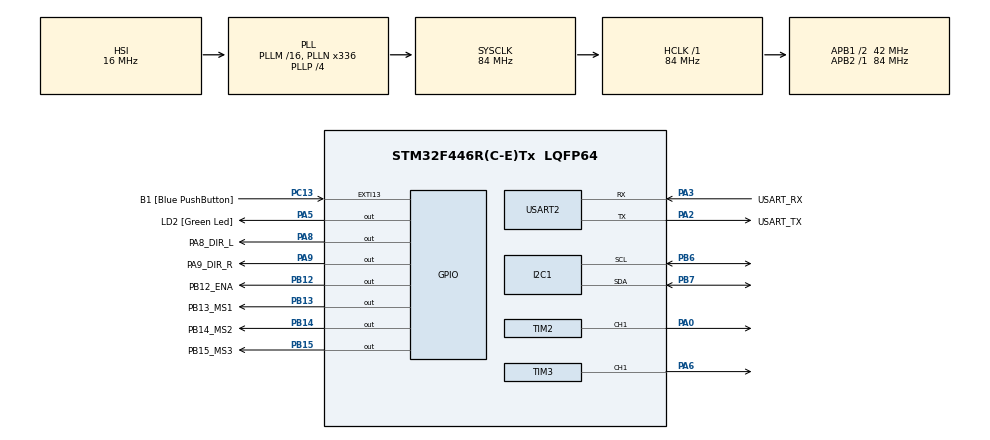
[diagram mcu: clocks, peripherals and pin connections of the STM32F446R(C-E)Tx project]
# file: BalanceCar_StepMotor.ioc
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I2C1.I2C_Mode=I2C_Fast
Mcu.Family=STM32F4
Mcu.Name=STM32F446R(C-E)Tx
Mcu.Package=LQFP64
NVIC.EXTI15_10_IRQn=true\:0\:0\:false\:false\:true\:true\:true
NVIC.PriorityGroup=NVIC_PRIORITYGROUP_0
PA0-WKUP.GPIO_PuPd=GPIO_PULLDOWN
PA0-WKUP.Signal=S_TIM2_CH1_ETR
PA13.GPIO_Label=TMS
PA13.Mode=Serial_Wire
PA13.Signal=SYS_JTMS-SWDIO
PA14.GPIO_Label=TCK
PA14.Mode=Serial_Wire
PA14.Signal=SYS_JTCK-SWCLK
PA2.GPIO_Label=USART_TX
PA2.Mode=Asynchronous
PA2.Signal=USART2_TX
PA3.GPIO_Label=USART_RX
PA3.Mode=Asynchronous
PA3.Signal=USART2_RX
PA5.GPIO_Label=LD2 [Green Led]
PA5.Signal=GPIO_Output
PA6.GPIO_PuPd=GPIO_PULLDOWN
PA6.Signal=S_TIM3_CH1
PA8.GPIO_Label=PA8_DIR_L
PA8.GPIO_PuPd=GPIO_PULLUP
PA8.Signal=GPIO_Output
PA9.GPIO_Label=PA9_DIR_R
PA9.GPIO_PuPd=GPIO_PULLUP
PA9.Signal=GPIO_Output
PB12.GPIO_Label=PB12_ENA
PB12.GPIO_PuPd=GPIO_PULLUP
PB12.Signal=GPIO_Output
PB13.GPIO_Label=PB13_MS1
PB13.GPIO_PuPd=GPIO_PULLDOWN
PB13.Signal=GPIO_Output
PB14.GPIO_Label=PB14_MS2
PB14.GPIO_PuPd=GPIO_PULLDOWN
PB14.Signal=GPIO_Output
PB15.GPIO_Label=PB15_MS3
PB15.GPIO_PuPd=GPIO_PULLDOWN
PB15.Signal=GPIO_Output
PB3.GPIO_Label=SWO
PB3.Signal=SYS_JTDO-SWO
PB6.Mode=I2C
PB6.Signal=I2C1_SCL
PB7.Mode=I2C
PB7.Signal=I2C1_SDA
PC13.GPIO_Label=B1 [Blue PushButton]
PC13.GPIO_ModeDefaultEXTI=GPIO_MODE_IT_FALLING
PC13.Signal=GPXTI13
PC14-OSC32_IN.Mode=LSE-External-Oscillator
PC14-OSC32_IN.Signal=RCC_OSC32_IN
PC15-OSC32_OUT.Mode=LSE-External-Oscillator
PC15-OSC32_OUT.Signal=RCC_OSC32_OUT
PH0-OSC_IN.Mode=HSE-External-Oscillator
PH0-OSC_IN.Signal=RCC_OSC_IN
PH1-OSC_OUT.Mode=HSE-External-Oscillator
PH1-OSC_OUT.Signal=RCC_OSC_OUT
ProjectManager.HeapSize=0x200
ProjectManager.StackSize=0x400
ProjectManager.TargetToolchain=STM32CubeIDE
RCC.48MHZClocksFreq_Value=84000000
RCC.AHBFreq_Value=84000000
RCC.APB1CLKDivider=RCC_HCLK_DIV2
RCC.APB1Freq_Value=42000000
RCC.APB1TimFreq_Value=84000000
RCC.APB2Freq_Value=84000000
RCC.APB2TimFreq_Value=84000000
RCC.CortexFreq_Value=84000000
RCC.FLatency-AdvancedSettings=FLASH_LATENCY_2
RCC.HCLKFreq_Value=84000000
RCC.HSE_VALUE=8000000
RCC.HSI_VALUE=16000000
RCC.PLLN=336
RCC.PLLP=RCC_PLLP_DIV4
RCC.SYSCLKFreq_VALUE=84000000
RCC.SYSCLKSource=RCC_SYSCLKSOURCE_PLLCLK
RCC.USBFreq_Value=168000000
RCC.VCOOutputFreq_Value=336000000
SH.S_TIM2_CH1_ETR.0=TIM2_CH1,PWM Generation1 CH1
SH.S_TIM3_CH1.0=TIM3_CH1,PWM Generation1 CH1
TIM2.AutoReloadPreload=TIM_AUTORELOAD_PRELOAD_ENABLE
TIM2.Channel-PWM\ Generation1\ CH1=TIM_CHANNEL_1
TIM2.Period=4999
TIM2.Prescaler=83
TIM2.Pulse-PWM\ Generation1\ CH1=2500
TIM2.TIM_MasterOutputTrigger=TIM_TRGO_RESET
TIM3.AutoReloadPreload=TIM_AUTORELOAD_PRELOAD_ENABLE
TIM3.Channel-PWM\ Generation1\ CH1=TIM_CHANNEL_1
TIM3.Period=4999
TIM3.Prescaler=83
TIM3.Pulse-PWM\ Generation1\ CH1=2500
TIM3.TIM_MasterOutputTrigger=TIM_TRGO_RESET
USART2.VirtualMode=VM_ASYNC
VP_TIM2_VS_ClockSourceINT.Mode=Internal
VP_TIM3_VS_ClockSourceINT.Mode=Internal
board=NUCLEO-F446RE

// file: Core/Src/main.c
/* USER CODE BEGIN Header */
/**
  ******************************************************************************
  * @file           : main.c
  * @brief          : Main program body
  ******************************************************************************
  * @attention
  *
  * <h2><center>&copy; Copyright (c) 2021 STMicroelectronics.
  * All rights reserved.</center></h2>
  *
  * This software component is licensed by ST under BSD 3-Clause license,
  * the "License"; You may not use this file except in compliance with the
  * License. You may obtain a copy of the License at:
  *                        opensource.org/licenses/BSD-3-Clause
  *
  ******************************************************************************
  */
/* USER CODE END Header */
#include "main.h"

/* USER CODE BEGIN Includes */
#include <stdlib.h>
#include "mpu6050.h"
#include "A4988_Driver.h"

/* USER CODE END Includes */

/* USER CODE BEGIN PD */
#ifdef __GNUC__
  #define PUTCHAR_PROTOTYPE int __io_putchar(int ch)
#else#define PUTCHAR_PROTOTYPE int fputc(int ch, FILE *f)
#endif /* __GNUC__ */
/* USER CODE END PD */

I2C_HandleTypeDef hi2c1;

TIM_HandleTypeDef htim2;
TIM_HandleTypeDef htim3;

UART_HandleTypeDef huart2;

/* USER CODE BEGIN PV */
MPU6050_HandleTypeDef MPU6050;
uint8_t count1 = 0, count2 = 0;

double balance_point = 6.0;
double reference_input_angle = 0.0;
double reference_input_speed = 0.0;

double error_angle = 0.0;
double error_speed = 0.0;
double error_speed_LFP = 0.0, alpha = 0.2;  // LPF means low pass filter.
double control_law_angle = 0.0;
double control_law_speed = 0.0;
double control_law_speed_LFP = 0.0, beta = 0.5;

double PID_speed_time = 0.0;
double PID_speed_delta_time = 0.0;
double PID_speed_integral = 0.0;
double PID_speed_error_pre = 0.0;

double PID_angle_time = 0.0;
double PID_angle_delta_time = 0.0;
double PID_angle_integral = 0.0;

/* USER CODE END PV */

void SystemClock_Config(void);
static void MX_GPIO_Init(void);
static void MX_USART2_UART_Init(void);
static void MX_I2C1_Init(void);
static void MX_TIM2_Init(void);
static void MX_TIM3_Init(void);
/* USER CODE BEGIN PFP */
double PID_angle_controller(double error);
double PID_speed_controller(double error);

/* USER CODE END PFP */

int main(void)
{

  /* MCU Configuration--------------------------------------------------------*/

  /* Reset of all peripherals, Initializes the Flash interface and the Systick. */
  HAL_Init();

  /* Configure the system clock */
  SystemClock_Config();

  /* USER CODE BEGIN SysInit */
  SysTick_Config(SystemCoreClock / 1000);

  /* USER CODE END SysInit */

  /* Initialize all configured peripherals */
  MX_GPIO_Init();
  MX_USART2_UART_Init();
  MX_I2C1_Init();
  MX_TIM2_Init();
  MX_TIM3_Init();
  /* USER CODE BEGIN 2 */
  StepMotorDriver_Iint(&htim2);
  StepMotorDriver_Iint(&htim3);

  if (mpu6050_Init_Correction(&hi2c1, &MPU6050) == 1)
  {
    Error_Handler();
  }

  /* USER CODE END 2 */

  /* Infinite loop */
  while (1)
  {

    /* USER CODE BEGIN 3 */
	while(count1 == 1)
	{
		KalmanFilter_getAngle(&hi2c1, &MPU6050);

		error_speed = reference_input_speed + control_law_speed_LFP;
		error_speed_LFP = alpha * error_speed + (1-alpha) * error_speed_LFP;  // Low pass filter
		control_law_angle = PID_speed_controller(error_speed_LFP);

		error_angle = reference_input_angle - MPU6050.KalmanFilter_AngleX + balance_point;
		control_law_speed = PID_angle_controller(error_angle) + control_law_angle;

		control_law_speed_LFP = beta * control_law_speed + (1-beta) * control_law_speed_LFP;  // Low pass filter

		if(control_law_speed_LFP > 1081.73) control_law_speed_LFP = 1081.73;  // Maximum limit
		if(control_law_speed_LFP < -1081.73) control_law_speed_LFP = -1081.73;

		printf("KF_AngleX = %f \t, error_angle = %f \t, control_law_speed_LFP = %f\n" \
				, MPU6050.KalmanFilter_AngleX, error_angle, control_law_speed_LFP);

		if(abs((int)error_angle) > 45)
		{
			StepMotor_Stop(&htim2);
			StepMotor_Stop(&htim3);
		}
		else if(abs((int)control_law_speed_LFP) < 1.502)
		{
			StepMotor_Stop(&htim2);
			StepMotor_Stop(&htim3);
		}
		else
		{
			// control_law_speed_LFP (unit:deg/sec)(>0 = forward; <0 = back), (1=left motor; 0=right motor)
			StepMotor_Control(&htim2, control_law_speed_LFP, 1);
			StepMotor_Control(&htim3, control_law_speed_LFP, 0);
		}

		while(count1 == 1 && count2 > 2)
		{
			StepMotor_Stop(&htim2);
			StepMotor_Stop(&htim3);
		}
	}
  }
  /* USER CODE END 3 */
}

void SystemClock_Config(void)
{
  RCC_OscInitTypeDef RCC_OscInitStruct = {0};
  RCC_ClkInitTypeDef RCC_ClkInitStruct = {0};

  /** Configure the main internal regulator output voltage
  */
  __HAL_RCC_PWR_CLK_ENABLE();
  __HAL_PWR_VOLTAGESCALING_CONFIG(PWR_REGULATOR_VOLTAGE_SCALE3);
  /** Initializes the RCC Oscillators according to the specified parameters
  * in the RCC_OscInitTypeDef structure.
  */
  RCC_OscInitStruct.OscillatorType = RCC_OSCILLATORTYPE_HSI;
  RCC_OscInitStruct.HSIState = RCC_HSI_ON;
  RCC_OscInitStruct.HSICalibrationValue = RCC_HSICALIBRATION_DEFAULT;
  RCC_OscInitStruct.PLL.PLLState = RCC_PLL_ON;
  RCC_OscInitStruct.PLL.PLLSource = RCC_PLLSOURCE_HSI;
  RCC_OscInitStruct.PLL.PLLM = 16;
  RCC_OscInitStruct.PLL.PLLN = 336;
  RCC_OscInitStruct.PLL.PLLP = RCC_PLLP_DIV4;
  RCC_OscInitStruct.PLL.PLLQ = 2;
  RCC_OscInitStruct.PLL.PLLR = 2;
  if (HAL_RCC_OscConfig(&RCC_OscInitStruct) != HAL_OK)
  {
    Error_Handler();
  }
  /** Initializes the CPU, AHB and APB buses clocks
  */
  RCC_ClkInitStruct.ClockType = RCC_CLOCKTYPE_HCLK|RCC_CLOCKTYPE_SYSCLK
                              |RCC_CLOCKTYPE_PCLK1|RCC_CLOCKTYPE_PCLK2;
  RCC_ClkInitStruct.SYSCLKSource = RCC_SYSCLKSOURCE_PLLCLK;
  RCC_ClkInitStruct.AHBCLKDivider = RCC_SYSCLK_DIV1;
  RCC_ClkInitStruct.APB1CLKDivider = RCC_HCLK_DIV2;
  RCC_ClkInitStruct.APB2CLKDivider = RCC_HCLK_DIV1;

  if (HAL_RCC_ClockConfig(&RCC_ClkInitStruct, FLASH_LATENCY_2) != HAL_OK)
  {
    Error_Handler();
  }
}

static void MX_I2C1_Init(void)
{

  hi2c1.Instance = I2C1;
  hi2c1.Init.ClockSpeed = 400000;
  hi2c1.Init.DutyCycle = I2C_DUTYCYCLE_2;
  hi2c1.Init.OwnAddress1 = 0;
  hi2c1.Init.AddressingMode = I2C_ADDRESSINGMODE_7BIT;
  hi2c1.Init.DualAddressMode = I2C_DUALADDRESS_DISABLE;
  hi2c1.Init.OwnAddress2 = 0;
  hi2c1.Init.GeneralCallMode = I2C_GENERALCALL_DISABLE;
  hi2c1.Init.NoStretchMode = I2C_NOSTRETCH_DISABLE;
  if (HAL_I2C_Init(&hi2c1) != HAL_OK)
  {
    Error_Handler();
  }

}

static void MX_TIM2_Init(void)
{

  TIM_ClockConfigTypeDef sClockSourceConfig = {0};
  TIM_MasterConfigTypeDef sMasterConfig = {0};
  TIM_OC_InitTypeDef sConfigOC = {0};

  htim2.Instance = TIM2;
  htim2.Init.Prescaler = 83;
  htim2.Init.CounterMode = TIM_COUNTERMODE_UP;
  htim2.Init.Period = 4999;
  htim2.Init.ClockDivision = TIM_CLOCKDIVISION_DIV1;
  htim2.Init.AutoReloadPreload = TIM_AUTORELOAD_PRELOAD_ENABLE;
  if (HAL_TIM_Base_Init(&htim2) != HAL_OK)
  {
    Error_Handler();
  }
  sClockSourceConfig.ClockSource = TIM_CLOCKSOURCE_INTERNAL;
  if (HAL_TIM_ConfigClockSource(&htim2, &sClockSourceConfig) != HAL_OK)
  {
    Error_Handler();
  }
  if (HAL_TIM_PWM_Init(&htim2) != HAL_OK)
  {
    Error_Handler();
  }
  sMasterConfig.MasterOutputTrigger = TIM_TRGO_RESET;
  sMasterConfig.MasterSlaveMode = TIM_MASTERSLAVEMODE_DISABLE;
  if (HAL_TIMEx_MasterConfigSynchronization(&htim2, &sMasterConfig) != HAL_OK)
  {
    Error_Handler();
  }
  sConfigOC.OCMode = TIM_OCMODE_PWM1;
  sConfigOC.Pulse = 2500;
  sConfigOC.OCPolarity = TIM_OCPOLARITY_HIGH;
  sConfigOC.OCFastMode = TIM_OCFAST_DISABLE;
  if (HAL_TIM_PWM_ConfigChannel(&htim2, &sConfigOC, TIM_CHANNEL_1) != HAL_OK)
  {
    Error_Handler();
  }
  HAL_TIM_MspPostInit(&htim2);

}

static void MX_TIM3_Init(void)
{

  TIM_ClockConfigTypeDef sClockSourceConfig = {0};
  TIM_MasterConfigTypeDef sMasterConfig = {0};
  TIM_OC_InitTypeDef sConfigOC = {0};

  htim3.Instance = TIM3;
  htim3.Init.Prescaler = 83;
  htim3.Init.CounterMode = TIM_COUNTERMODE_UP;
  htim3.Init.Period = 4999;
  htim3.Init.ClockDivision = TIM_CLOCKDIVISION_DIV1;
  htim3.Init.AutoReloadPreload = TIM_AUTORELOAD_PRELOAD_ENABLE;
  if (HAL_TIM_Base_Init(&htim3) != HAL_OK)
  {
    Error_Handler();
  }
  sClockSourceConfig.ClockSource = TIM_CLOCKSOURCE_INTERNAL;
  if (HAL_TIM_ConfigClockSource(&htim3, &sClockSourceConfig) != HAL_OK)
  {
    Error_Handler();
  }
  if (HAL_TIM_PWM_Init(&htim3) != HAL_OK)
  {
    Error_Handler();
  }
  sMasterConfig.MasterOutputTrigger = TIM_TRGO_RESET;
  sMasterConfig.MasterSlaveMode = TIM_MASTERSLAVEMODE_DISABLE;
  if (HAL_TIMEx_MasterConfigSynchronization(&htim3, &sMasterConfig) != HAL_OK)
  {
    Error_Handler();
  }
  sConfigOC.OCMode = TIM_OCMODE_PWM1;
  sConfigOC.Pulse = 2500;
  sConfigOC.OCPolarity = TIM_OCPOLARITY_HIGH;
  sConfigOC.OCFastMode = TIM_OCFAST_DISABLE;
  if (HAL_TIM_PWM_ConfigChannel(&htim3, &sConfigOC, TIM_CHANNEL_1) != HAL_OK)
  {
    Error_Handler();
  }
  HAL_TIM_MspPostInit(&htim3);

}

static void MX_USART2_UART_Init(void)
{

  huart2.Instance = USART2;
  huart2.Init.BaudRate = 115200;
  huart2.Init.WordLength = UART_WORDLENGTH_8B;
  huart2.Init.StopBits = UART_STOPBITS_1;
  huart2.Init.Parity = UART_PARITY_NONE;
  huart2.Init.Mode = UART_MODE_TX_RX;
  huart2.Init.HwFlowCtl = UART_HWCONTROL_NONE;
  huart2.Init.OverSampling = UART_OVERSAMPLING_16;
  if (HAL_UART_Init(&huart2) != HAL_OK)
  {
    Error_Handler();
  }

}

static void MX_GPIO_Init(void)
{
  GPIO_InitTypeDef GPIO_InitStruct = {0};

  /* GPIO Ports Clock Enable */
  __HAL_RCC_GPIOC_CLK_ENABLE();
  __HAL_RCC_GPIOH_CLK_ENABLE();
  __HAL_RCC_GPIOA_CLK_ENABLE();
  __HAL_RCC_GPIOB_CLK_ENABLE();

  /*Configure GPIO pin Output Level */
  HAL_GPIO_WritePin(GPIOA, LD2_Pin|PA8_DIR_L_Pin|PA9_DIR_R_Pin, GPIO_PIN_RESET);

  /*Configure GPIO pin Output Level */
  HAL_GPIO_WritePin(GPIOB, PB12_ENA_Pin|PB13_MS1_Pin|PB14_MS2_Pin|PB15_MS3_Pin, GPIO_PIN_RESET);

  /*Configure GPIO pin : B1_Pin */
  GPIO_InitStruct.Pin = B1_Pin;
  GPIO_InitStruct.Mode = GPIO_MODE_IT_FALLING;
  GPIO_InitStruct.Pull = GPIO_NOPULL;
  HAL_GPIO_Init(B1_GPIO_Port, &GPIO_InitStruct);

  /*Configure GPIO pin : LD2_Pin */
  GPIO_InitStruct.Pin = LD2_Pin;
  GPIO_InitStruct.Mode = GPIO_MODE_OUTPUT_PP;
  GPIO_InitStruct.Pull = GPIO_NOPULL;
  GPIO_InitStruct.Speed = GPIO_SPEED_FREQ_LOW;
  HAL_GPIO_Init(LD2_GPIO_Port, &GPIO_InitStruct);

  /*Configure GPIO pin : PB12_ENA_Pin */
  GPIO_InitStruct.Pin = PB12_ENA_Pin;
  GPIO_InitStruct.Mode = GPIO_MODE_OUTPUT_PP;
  GPIO_InitStruct.Pull = GPIO_PULLUP;
  GPIO_InitStruct.Speed = GPIO_SPEED_FREQ_LOW;
  HAL_GPIO_Init(PB12_ENA_GPIO_Port, &GPIO_InitStruct);

  /*Configure GPIO pins : PB13_MS1_Pin PB14_MS2_Pin PB15_MS3_Pin */
  GPIO_InitStruct.Pin = PB13_MS1_Pin|PB14_MS2_Pin|PB15_MS3_Pin;
  GPIO_InitStruct.Mode = GPIO_MODE_OUTPUT_PP;
  GPIO_InitStruct.Pull = GPIO_PULLDOWN;
  GPIO_InitStruct.Speed = GPIO_SPEED_FREQ_LOW;
  HAL_GPIO_Init(GPIOB, &GPIO_InitStruct);

  /*Configure GPIO pins : PA8_DIR_L_Pin PA9_DIR_R_Pin */
  GPIO_InitStruct.Pin = PA8_DIR_L_Pin|PA9_DIR_R_Pin;
  GPIO_InitStruct.Mode = GPIO_MODE_OUTPUT_PP;
  GPIO_InitStruct.Pull = GPIO_PULLUP;
  GPIO_InitStruct.Speed = GPIO_SPEED_FREQ_LOW;
  HAL_GPIO_Init(GPIOA, &GPIO_InitStruct);

  /* EXTI interrupt init*/
  HAL_NVIC_SetPriority(EXTI15_10_IRQn, 0, 0);
  HAL_NVIC_EnableIRQ(EXTI15_10_IRQn);

}

/* USER CODE BEGIN 4 */
double PID_angle_controller(double error)
{
	uint8_t index = 0;
	double P = 0.0, I = 0.0, D = 0.0;
	double Kp = 15.0, Ki = 5.0, Kd = 1.5;
	double u = 0.0;

	PID_angle_delta_time = (double)(HAL_GetTick() - PID_angle_time) / 1000;
	PID_angle_time = HAL_GetTick();

	P = Kp * error;

	if(abs((int)error) > 45)  // Integral separation method
	{
		index = 0;
	}
	else
	{
		index = 1;
		PID_angle_integral += error * PID_angle_delta_time/1000.0;
	}
	I = Ki * PID_angle_integral;
	if(I > 1000) I = 1000;  // Maximum limit I
	if(I < -1000) I = -1000;

	D = Kd * MPU6050.Gyro_Y_AngVel;

	u = P + index * I + D;

	return u;
}

double PID_speed_controller(double error)
{
	double P = 0.0, I = 0.0, D = 0.0;
	double Kp = 1.03, Ki = Kp/200.0, Kd = 0.0;
	double u = 0.0;

	PID_speed_delta_time = (double)(HAL_GetTick() - PID_speed_time) / 1000;
	PID_speed_time = HAL_GetTick();

	P = Kp * error;

	PID_speed_integral += error * PID_speed_delta_time/1000.0;
	I = Ki * PID_speed_integral;
	if(I > 1000) I = 1000;  // Maximum limit I
	if(I < -1000) I = -1000;

	D = Kd * (error - PID_speed_error_pre)/(PID_speed_delta_time/1000.0);
	PID_speed_error_pre = error;

	u = P + I + D;

	return u;
}

void HAL_GPIO_EXTI_Callback(uint16_t GPIO_Pin)
{
  /* Prevent unused argument(s) compilation warning */
  UNUSED(GPIO_Pin);
  /* NOTE: This function Should not be modified, when the callback is needed,
           the HAL_GPIO_EXTI_Callback could be implemented in the user file
   */

  if(GPIO_Pin == B1_Pin){
        count1 = 1;
	count2 += 1;
  }
}

PUTCHAR_PROTOTYPE
{
HAL_UART_Transmit(&huart2, (uint8_t *)&ch, 1, 0xFFFF);
return ch;
}

/* USER CODE END 4 */

void Error_Handler(void)
{
  __disable_irq();
  while (1)
  {
  }
}

/************************ (C) COPYRIGHT STMicroelectronics *****END OF FILE****/
